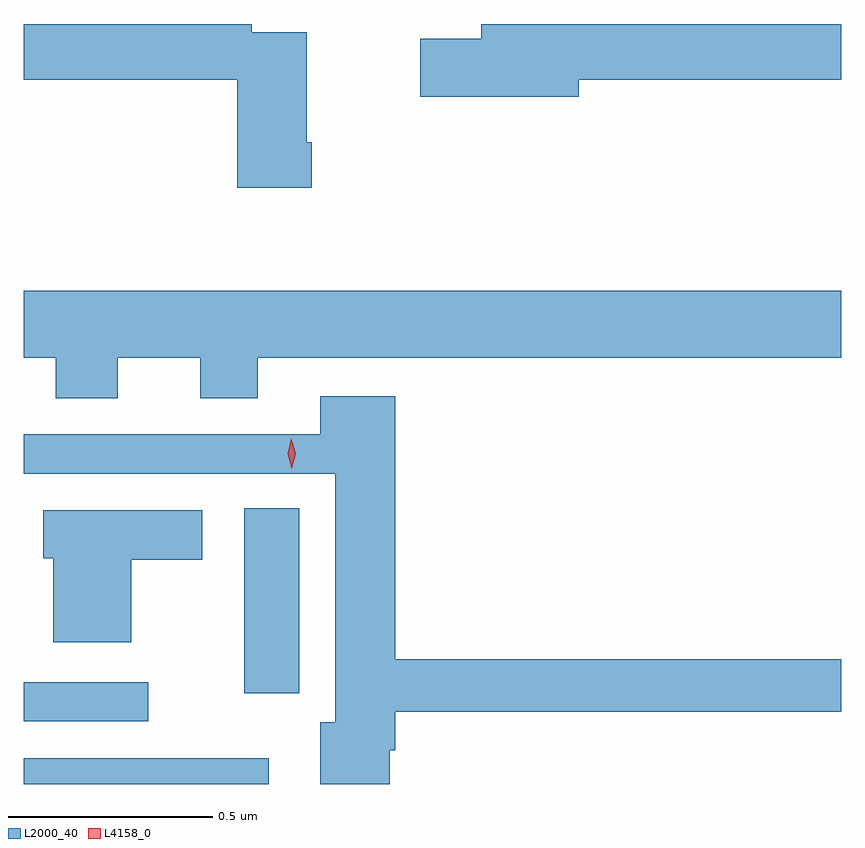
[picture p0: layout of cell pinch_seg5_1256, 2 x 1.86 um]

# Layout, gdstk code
import gdstk
lib = gdstk.Library(unit=1e-6, precision=1e-09)
def R(c, l, rs):  # rectangles x0, y0, x1, y1
    for r in rs: c.add(gdstk.rectangle(r[:2], r[2:], *l))
def P(c, l, *ps):  # polygons
    for p in ps: c.add(gdstk.Polygon(p, *l))
L2000_40 = (2000, 40)
L4158_0 = (4158, 0)

pinch_seg5_1256 = lib.new_cell('pinch_seg5_1256')
R(pinch_seg5_1256, L2000_40, [(471.392,905.001,471.991,905.064), (471.392,905.154,471.697,905.25), (471.932,905.223,472.066,905.675)])
P(pinch_seg5_1256, L2000_40, [(472.75,906.724),(473.392,906.724),(473.392,906.86),(472.511,906.86),(472.511,906.824),(472.362,906.824),(472.362,906.682),(472.75,906.682)],
  [(472.097,906.571),(472.084,906.571),(472.084,906.84),(471.95,906.84),(471.95,906.86),(471.392,906.86),(471.392,906.724),(471.914,906.724),(471.914,906.459),(472.097,906.459)],
  [(471.622,906.044),(471.824,906.044),(471.824,905.945),(471.964,905.945),(471.964,906.044),(473.392,906.044),(473.392,906.208),(471.392,906.208),(471.392,906.044),(471.47,906.044),(471.47,905.945),(471.622,905.945)],
  [(472.288,905.084),(472.301,905.084),(472.301,905.178),(473.392,905.178),(473.392,905.306),(472.301,905.306),(472.301,905.95),(472.118,905.95),(472.118,905.856),(471.392,905.856),(471.392,905.76),(472.154,905.76),(472.154,905.152),(472.118,905.152),(472.118,905.001),(472.288,905.001)],
  [(471.655,905.549),(471.829,905.549),(471.829,905.671),(471.44,905.671),(471.44,905.553),(471.464,905.553),(471.464,905.348),(471.655,905.348)])
P(pinch_seg5_1256, L4158_0, [(472.048,905.773),(472.048,905.773),(472.038,905.809),(472.047,905.845),(472.047,905.845),(472.047,905.845),(472.058,905.809),(472.048,905.773)])

lib.write_gds('pinch_seg5_1256.gds')
